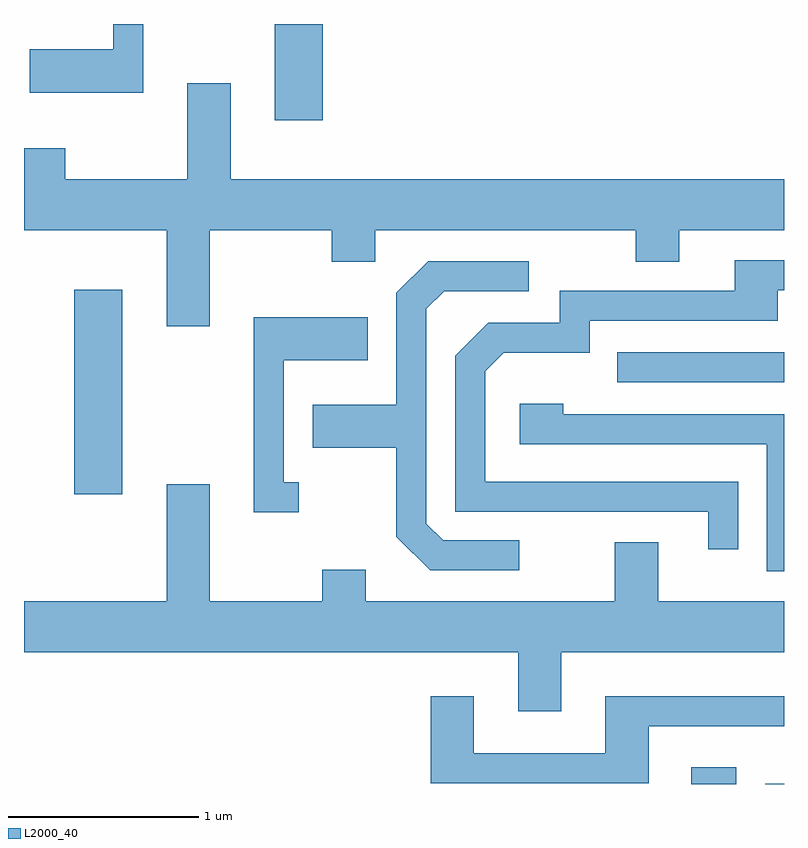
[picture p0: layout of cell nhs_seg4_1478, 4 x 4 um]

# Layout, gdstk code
import gdstk
lib = gdstk.Library(unit=1e-6, precision=1e-09)
def R(c, l, rs):  # rectangles x0, y0, x1, y1
    for r in rs: c.add(gdstk.rectangle(r[:2], r[2:], *l))
def P(c, l, *ps):  # polygons
    for p in ps: c.add(gdstk.Polygon(p, *l))
L2000_40 = (2000, 40)

nhs_seg4_1478 = lib.new_cell('nhs_seg4_1478')
R(nhs_seg4_1478, L2000_40, [(231.123,1353.982,231.359,1354.069), (231.511,1353.982,231.611,1353.984), (227.876,1355.506,228.129,1356.584), (230.733,1356.096,231.611,1356.254), (228.931,1357.476,229.184,1357.982)])
P(nhs_seg4_1478, L2000_40, [(228.239,1357.982),(228.081,1357.982),(228.081,1357.849),(227.641,1357.849),(227.641,1357.621),(228.239,1357.621)],
  [(228.589,1356.896),(229.231,1356.896),(229.231,1356.731),(229.459,1356.731),(229.459,1356.896),(230.831,1356.896),(230.831,1356.731),(231.059,1356.731),(231.059,1356.896),(231.611,1356.896),(231.611,1357.164),(228.699,1357.164),(228.699,1357.669),(228.471,1357.669),(228.471,1357.164),(227.829,1357.164),(227.829,1357.329),(227.611,1357.329),(227.611,1356.896),(228.361,1356.896),(228.361,1356.391),(228.589,1356.391)],
  [(231.369,1355.574),(230.039,1355.574),(230.039,1356.154),(230.137,1356.251),(230.589,1356.251),(230.589,1356.421),(231.579,1356.421),(231.579,1356.581),(231.611,1356.581),(231.611,1356.739),(231.351,1356.739),(231.351,1356.579),(230.431,1356.579),(230.431,1356.409),(230.054,1356.409),(229.881,1356.237),(229.881,1355.416),(231.211,1355.416),(231.211,1355.218),(231.369,1355.218)],
  [(230.218,1355.264),(229.817,1355.264),(229.729,1355.352),(229.729,1356.484),(229.822,1356.576),(230.268,1356.576),(230.268,1356.734),(229.739,1356.734),(229.571,1356.567),(229.571,1355.979),(229.131,1355.979),(229.131,1355.751),(229.571,1355.751),(229.571,1355.284),(229.749,1355.106),(230.218,1355.106)],
  [(229.058,1355.569),(228.979,1355.569),(228.979,1356.211),(229.419,1356.211),(229.419,1356.439),(228.821,1356.439),(228.821,1355.411),(229.058,1355.411)],
  [(231.611,1355.929),(230.449,1355.929),(230.449,1355.984),(230.221,1355.984),(230.221,1355.771),(231.521,1355.771),(231.521,1355.101),(231.611,1355.101)],
  [(230.439,1354.676),(231.611,1354.676),(231.611,1354.944),(230.949,1354.944),(230.949,1355.254),(230.721,1355.254),(230.721,1354.944),(229.409,1354.944),(229.409,1355.109),(229.181,1355.109),(229.181,1354.944),(228.589,1354.944),(228.589,1355.559),(228.361,1355.559),(228.361,1354.944),(227.611,1354.944),(227.611,1354.676),(230.211,1354.676),(230.211,1354.366),(230.439,1354.366)],
  [(230.899,1354.286),(231.611,1354.286),(231.611,1354.444),(230.671,1354.444),(230.671,1354.144),(229.979,1354.144),(229.979,1354.444),(229.751,1354.444),(229.751,1353.986),(230.899,1353.986)])

lib.write_gds('nhs_seg4_1478.gds')
